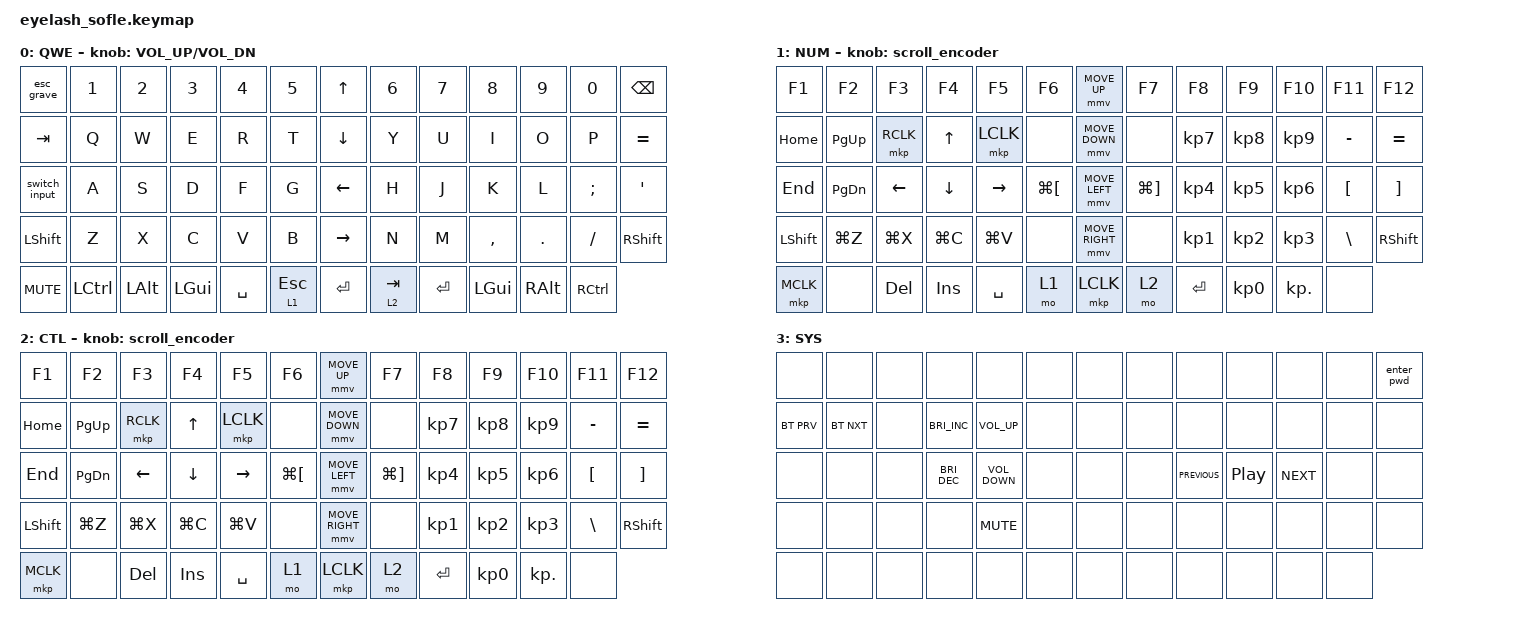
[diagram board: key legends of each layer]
#define ZMK_POINTING_DEFAULT_MOVE_VAL 1200  // 600
#define ZMK_POINTING_DEFAULT_SCRL_VAL 25   // 10

#include <input/processors.dtsi>
#include <zephyr/dt-bindings/input/input-event-codes.h>
#include <behaviors.dtsi>
#include <dt-bindings/zmk/bt.h>
#include <dt-bindings/zmk/keys.h>
#include <dt-bindings/zmk/pointing.h>

&mmv_input_listener { input-processors = <&zip_xy_scaler 2 1>; };

&msc_input_listener { input-processors = <&zip_scroll_scaler 2 1>; };

&msc {
    time-to-max-speed-ms = <50>;       // 300 
};

&lt {
    flavor = "hold-preferred";
    tapping-term-ms = <250>;
};

&mt {
    quick-tap-ms = <200>;
    tapping-term-ms = <250>;
};

&mmv {
};

/ {
    scroll_encoder: scroll_encoder {
        compatible = "zmk,behavior-sensor-rotate";
        #sensor-binding-cells = <0>;
        bindings = <&msc SCRL_DOWN>, <&msc SCRL_UP>;

        tap-ms = <100>;
    };

    behaviors {
        as_ht: autoshift_hold_tap {
            compatible = "zmk,behavior-hold-tap";
            label = "AUTOSHIFT_HOLD_TAP";
            #binding-cells = <2>;
            tapping-term-ms = <300>;
            bindings = <&shifted>, <&kp>;

            flavor = "tap-preferred";
        };

        esc_grave: esc_grave {
            compatible = "zmk,behavior-mod-morph";
            #binding-cells = <0>;
            bindings = <&kp ESC>, <&kp GRAVE>;

            mods = <(MOD_LCTL|MOD_LSFT|MOD_RCTL|MOD_RSFT)>;
            keep-mods = <(MOD_LSFT|MOD_RSFT)>;
        };
    };

    combos {
        compatible = "zmk,combos";

        combo_minus {
            bindings = <&kp MINUS>;
            key-positions = <30 31>;
            layers = <0>;
            timeout-ms = <70>;
        };

        combo_underscore {
            bindings = <&kp RS(MINUS)>;
            key-positions = <33 34>;
            layers = <0>;
            timeout-ms = <70>;
        };

        combo_big_l_bracket {
            bindings = <&kp LS(LEFT_BRACKET)>;
            key-positions = <5 4>;
            layers = <0>;
            timeout-ms = <70>;
        };

        combo_big_r_bracket {
            bindings = <&kp RS(RIGHT_BRACKET)>;
            key-positions = <8 7>;
            layers = <0>;
            timeout-ms = <70>;
        };

        combo_mid_l_bracket {
            bindings = <&kp LEFT_BRACKET>;
            key-positions = <17 18>;
            layers = <0>;
            timeout-ms = <70>;
        };

        combo_mid_r_bracket {
            bindings = <&kp RIGHT_BRACKET>;
            key-positions = <20 21>;
            layers = <0>;
            timeout-ms = <70>;
        };

        combo_small_l_bracket {
            bindings = <&kp LEFT_PARENTHESIS>;
            key-positions = <43 44>;
            layers = <0>;
            timeout-ms = <70>;
        };

        combo_small_r_bracket {
            bindings = <&kp RIGHT_PARENTHESIS>;
            key-positions = <46 47>;
            layers = <0>;
            timeout-ms = <70>;
        };
    };

    macros {
        shifted: macro_shifted_kp {
            #binding-cells = <1>;
            label = "MACRO_SHIFTED_KP";
            compatible = "zmk,behavior-macro-one-param";
            bindings =
                <&macro_press>,
                <&kp LSHFT &macro_param_1to1>,
                <&macro_tap>,
                <&kp MACRO_PLACEHOLDER>,
                <&macro_release>,
                <&kp LSHFT>;
        };

        as: autoshift {
            compatible = "zmk,behavior-macro-one-param";
            #binding-cells = <1>;
            label = "AUTOSHIFT_KP";
            bindings =
                <&macro_press>,
                <&macro_param_1to1 &macro_param_1to2 &as_ht MACRO_PLACEHOLDER MACRO_PLACEHOLDER>,
                <&macro_pause_for_release>,
                <&macro_release>,
                <&macro_param_1to1 &macro_param_1to2 &as_ht MACRO_PLACEHOLDER MACRO_PLACEHOLDER>;
        };

        enter_pwd: enter_pwd {
            compatible = "zmk,behavior-macro";
            #binding-cells = <0>;
            bindings = <&kp LS(M) &kp I &kp K &kp U &kp N2 &kp N2 &kp N2 &kp TILDE>;
            label = "ENTER_PWD";
        };

        switch_input: switch_input {
            compatible = "zmk,behavior-macro";
            #binding-cells = <0>;
            bindings = <&kp LG(SPACE)>;
            label = "SWITCH_INPUT";
        };
    };

    keymap {
        compatible = "zmk,keymap";

        QWE {
            bindings = <
&esc_grave     &kp N1     &kp N2        &kp N3        &kp N4     &kp N5          &kp UP_ARROW     &kp N6     &kp N7     &kp N8        &kp N9         &kp N0     &kp BACKSPACE
&kp TAB        &kp Q      &kp W         &kp E         &kp R      &kp T           &kp DOWN_ARROW   &kp Y      &kp U      &kp I         &kp O          &kp P      &kp EQUAL
&switch_input  &kp A      &kp S         &kp D         &kp F      &kp G           &kp LEFT_ARROW   &kp H      &kp J      &kp K         &kp L          &kp SEMI   &kp APOS
&kp LSHFT      &kp Z      &kp X         &kp C         &kp V      &kp B           &kp RIGHT_ARROW  &kp N      &kp M      &kp COMMA     &kp DOT        &kp FSLH   &kp RIGHT_SHIFT
&kp C_MUTE     &kp LCTRL  &kp LEFT_ALT  &kp LEFT_GUI  &kp SPACE  &lt 1 ESCAPE    &kp ENTER        &lt 2 TAB  &kp ENTER  &kp LEFT_GUI  &kp RIGHT_ALT  &kp RCTRL
            >;

            sensor-bindings = <&inc_dec_kp C_VOLUME_UP C_VOL_DN>;
            display-name = "QWE";
        };

        NUM {
            bindings = <
&kp F1     &kp F2         &kp F3      &kp F4      &kp F5     &kp F6                  &mmv MOVE_UP     &kp F7                 &kp F8           &kp F9           &kp F10          &kp F11           &kp F12
&kp HOME   &kp PAGE_UP    &mkp RCLK   &kp UP      &mkp LCLK  &none                   &mmv MOVE_DOWN   &none                  &kp KP_NUMBER_7  &kp KP_NUMBER_8  &kp KP_NUMBER_9  &kp MINUS         &kp EQUAL
&kp END    &kp PAGE_DOWN  &kp LEFT    &kp DOWN    &kp RIGHT  &kp LG(LEFT_BRACKET)    &mmv MOVE_LEFT   &kp LG(RIGHT_BRACKET)  &kp KP_NUMBER_4  &kp KP_NUMBER_5  &kp KP_NUMBER_6  &kp LEFT_BRACKET  &kp RIGHT_BRACKET
&kp LSHFT  &kp LG(Z)      &kp LG(X)   &kp LG(C)   &kp LG(V)  &none                   &mmv MOVE_RIGHT  &none                  &kp KP_NUMBER_1  &kp KP_NUMBER_2  &kp KP_NUMBER_3  &kp BACKSLASH     &kp RSHFT
&mkp MCLK  &none          &kp DELETE  &kp INSERT  &kp SPACE  &mo 1                   &mkp LCLK        &mo 2                  &kp ENTER        &kp KP_NUMBER_0  &kp KP_DOT       &none
            >;

            sensor-bindings = <&scroll_encoder>;
            display-name = "NUM";
        };

        CTL {
            display-name = "CTL";
            bindings = <
&kp F1     &kp F2         &kp F3      &kp F4      &kp F5     &kp F6                  &mmv MOVE_UP     &kp F7                 &kp F8           &kp F9           &kp F10          &kp F11           &kp F12
&kp HOME   &kp PAGE_UP    &mkp RCLK   &kp UP      &mkp LCLK  &none                   &mmv MOVE_DOWN   &none                  &kp KP_NUMBER_7  &kp KP_NUMBER_8  &kp KP_NUMBER_9  &kp MINUS         &kp EQUAL
&kp END    &kp PAGE_DOWN  &kp LEFT    &kp DOWN    &kp RIGHT  &kp LG(LEFT_BRACKET)    &mmv MOVE_LEFT   &kp LG(RIGHT_BRACKET)  &kp KP_NUMBER_4  &kp KP_NUMBER_5  &kp KP_NUMBER_6  &kp LEFT_BRACKET  &kp RIGHT_BRACKET
&kp LSHFT  &kp LG(Z)      &kp LG(X)   &kp LG(C)   &kp LG(V)  &none                   &mmv MOVE_RIGHT  &none                  &kp KP_NUMBER_1  &kp KP_NUMBER_2  &kp KP_NUMBER_3  &kp BACKSLASH     &kp RSHFT
&mkp MCLK  &none          &kp DELETE  &kp INSERT  &kp SPACE  &mo 1                   &mkp LCLK        &mo 2                  &kp ENTER        &kp KP_NUMBER_0  &kp KP_DOT       &none
            >;

            sensor-bindings = <&scroll_encoder>;
        };

        SYS {
            bindings = <
&none       &none       &none  &none                 &none              &none    &none  &none  &none           &none             &none       &none  &enter_pwd
&bt BT_PRV  &bt BT_NXT  &none  &kp C_BRIGHTNESS_INC  &kp C_VOLUME_UP    &none    &none  &none  &none           &none             &none       &none  &none
&none       &none       &none  &kp C_BRIGHTNESS_DEC  &kp C_VOLUME_DOWN  &none    &none  &none  &kp C_PREVIOUS  &kp C_PLAY_PAUSE  &kp C_NEXT  &none  &none
&none       &none       &none  &none                 &kp C_MUTE         &none    &none  &none  &none           &none             &none       &none  &none
&none       &none       &none  &none                 &none              &none    &none  &none  &none           &none             &none       &none
            >;

            display-name = "SYS";
        };
    };

    conditional_layers {
        compatible = "zmk,conditional-layers";

        cond_mo_1_2_to_3 {
            if-layers = <1 2>;
            then-layer = <3>;
        };
    };
};
